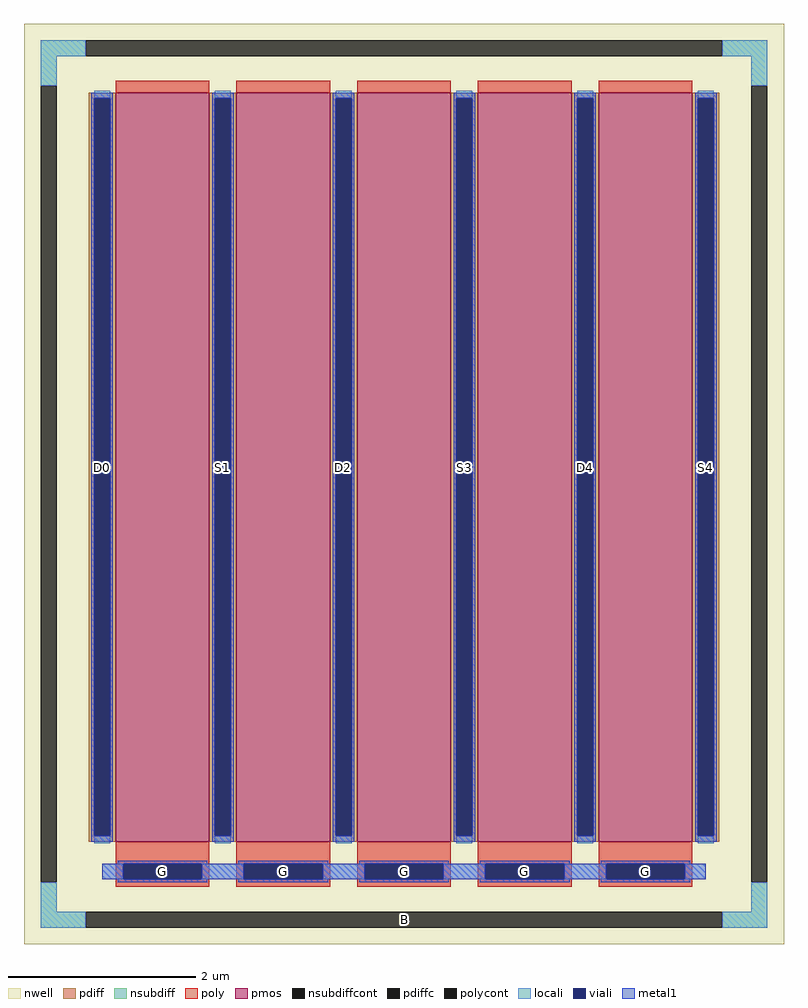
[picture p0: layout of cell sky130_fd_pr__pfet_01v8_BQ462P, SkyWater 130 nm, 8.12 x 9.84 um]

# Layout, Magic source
magic
tech sky130A
magscale 1 2
<< nwell >>
rect -812 -984 812 984
<< pmos >>
rect -616 -764 -416 836
rect -358 -764 -158 836
rect -100 -764 100 836
rect 158 -764 358 836
rect 416 -764 616 836
<< pdiff >>
rect -674 824 -616 836
rect -674 -752 -662 824
rect -628 -752 -616 824
rect -674 -764 -616 -752
rect -416 824 -358 836
rect -416 -752 -404 824
rect -370 -752 -358 824
rect -416 -764 -358 -752
rect -158 824 -100 836
rect -158 -752 -146 824
rect -112 -752 -100 824
rect -158 -764 -100 -752
rect 100 824 158 836
rect 100 -752 112 824
rect 146 -752 158 824
rect 100 -764 158 -752
rect 358 824 416 836
rect 358 -752 370 824
rect 404 -752 416 824
rect 358 -764 416 -752
rect 616 824 674 836
rect 616 -752 628 824
rect 662 -752 674 824
rect 616 -764 674 -752
<< pdiffc >>
rect -662 -752 -628 824
rect -404 -752 -370 824
rect -146 -752 -112 824
rect 112 -752 146 824
rect 370 -752 404 824
rect 628 -752 662 824
<< nsubdiff >>
rect -776 914 -680 948
rect 680 914 776 948
rect -776 851 -742 914
rect 742 851 776 914
rect -776 -914 -742 -851
rect 742 -914 776 -851
rect -776 -948 -680 -914
rect 680 -948 776 -914
<< nsubdiffcont >>
rect -680 914 680 948
rect -776 -851 -742 851
rect 742 -851 776 851
rect -680 -948 680 -914
<< poly >>
rect -616 836 -416 862
rect -358 836 -158 862
rect -100 836 100 862
rect 158 836 358 862
rect 416 836 616 862
rect -616 -811 -416 -764
rect -616 -845 -600 -811
rect -432 -845 -416 -811
rect -616 -861 -416 -845
rect -358 -811 -158 -764
rect -358 -845 -342 -811
rect -174 -845 -158 -811
rect -358 -861 -158 -845
rect -100 -811 100 -764
rect -100 -845 -84 -811
rect 84 -845 100 -811
rect -100 -861 100 -845
rect 158 -811 358 -764
rect 158 -845 174 -811
rect 342 -845 358 -811
rect 158 -861 358 -845
rect 416 -811 616 -764
rect 416 -845 432 -811
rect 600 -845 616 -811
rect 416 -861 616 -845
<< polycont >>
rect -600 -845 -432 -811
rect -342 -845 -174 -811
rect -84 -845 84 -811
rect 174 -845 342 -811
rect 432 -845 600 -811
<< locali >>
rect -776 914 -680 948
rect 680 914 776 948
rect -776 851 -742 914
rect 742 851 776 914
rect -662 824 -628 840
rect -662 -768 -628 -752
rect -404 824 -370 840
rect -404 -768 -370 -752
rect -146 824 -112 840
rect -146 -768 -112 -752
rect 112 824 146 840
rect 112 -768 146 -752
rect 370 824 404 840
rect 370 -768 404 -752
rect 628 824 662 840
rect 628 -768 662 -752
rect -645 -845 -600 -811
rect -432 -845 -342 -811
rect -174 -845 -84 -811
rect 84 -845 174 -811
rect 342 -845 432 -811
rect 600 -845 645 -811
rect -776 -914 -742 -851
rect 742 -914 776 -851
rect -776 -948 -680 -914
rect 680 -948 776 -914
<< viali >>
rect -662 -752 -628 824
rect -404 -752 -370 824
rect -146 -752 -112 824
rect 112 -752 146 824
rect 370 -752 404 824
rect 628 -752 662 824
rect -600 -845 -432 -811
rect -342 -845 -174 -811
rect -84 -845 84 -811
rect 174 -845 342 -811
rect 432 -845 600 -811
<< metal1 >>
rect -668 824 -622 836
rect -668 -752 -662 824
rect -628 -752 -622 824
rect -668 -764 -622 -752
rect -410 824 -364 836
rect -410 -752 -404 824
rect -370 -752 -364 824
rect -410 -764 -364 -752
rect -152 824 -106 836
rect -152 -752 -146 824
rect -112 -752 -106 824
rect -152 -764 -106 -752
rect 106 824 152 836
rect 106 -752 112 824
rect 146 -752 152 824
rect 106 -764 152 -752
rect 364 824 410 836
rect 364 -752 370 824
rect 404 -752 410 824
rect 364 -764 410 -752
rect 622 824 668 836
rect 622 -752 628 824
rect 662 -752 668 824
rect 622 -764 668 -752
rect -612 -811 -420 -805
rect -354 -811 -162 -805
rect -96 -811 96 -805
rect 162 -811 354 -805
rect 420 -811 612 -805
rect -645 -845 -600 -811
rect -432 -845 -342 -811
rect -174 -845 -84 -811
rect 84 -845 174 -811
rect 342 -845 432 -811
rect 600 -845 645 -811
rect -612 -851 -420 -845
rect -354 -851 -162 -845
rect -96 -851 96 -845
rect 162 -851 354 -845
rect 420 -851 612 -845
<< labels >>
rlabel nsubdiffcont 0 -931 0 -931 0 B
port 1 nsew
rlabel pdiffc -645 36 -645 36 0 D0
port 2 nsew
rlabel polycont -516 -828 -516 -828 0 G
port 3 nsew
rlabel pdiffc -387 36 -387 36 0 S1
port 4 nsew
rlabel polycont -258 -828 -258 -828 0 G
port 3 nsew
rlabel pdiffc -129 36 -129 36 0 D2
port 5 nsew
rlabel polycont 0 -828 0 -828 0 G
port 3 nsew
rlabel pdiffc 129 36 129 36 0 S3
port 6 nsew
rlabel polycont 258 -828 258 -828 0 G
port 3 nsew
rlabel pdiffc 387 36 387 36 0 D4
port 7 nsew
rlabel pdiffc 645 36 645 36 0 S4
port 8 nsew
rlabel polycont 516 -828 516 -828 0 G
port 3 nsew
<< properties >>
string FIXED_BBOX -759 -931 759 931
string gencell sky130_fd_pr__pfet_01v8
string library sky130
string parameters w 8 l 1.0 m 1 nf 5 diffcov 100 polycov 100 guard 1 glc 1 grc 1 gtc 1 gbc 1 tbcov 100 rlcov 100 topc 0 botc 1 poverlap 0 doverlap 1 lmin 0.15 wmin 0.42 class mosfet compatible {sky130_fd_pr__pfet_01v8  sky130_fd_pr__pfet_01v8_lvt sky130_fd_pr__pfet_01v8_hvt  sky130_fd_pr__pfet_g5v0d10v5} full_metal 1 conn_gates 1 viasrc 100 viadrn 100 viagate 100 viagb 0 viagr 0 viagl 0 viagt 0 doports 1
<< end >>
